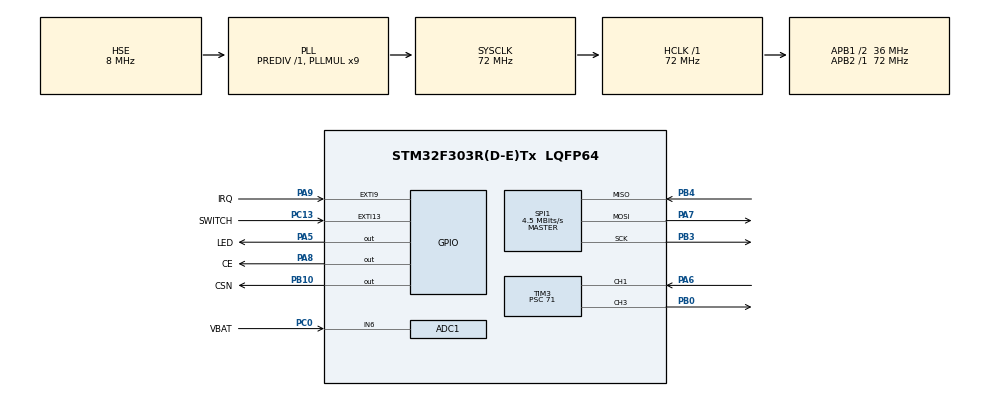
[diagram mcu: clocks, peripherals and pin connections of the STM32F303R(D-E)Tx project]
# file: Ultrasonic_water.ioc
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Mcu.Family=STM32F3
NVIC.ADC1_2_IRQn=true\:0\:0\:false\:false\:true\:true\:true
RCC.CortexFreq_Value=72000000
SPI1.VirtualType=VM_MASTER
VP_ADC1_TempSens_Input.Mode=IN-TempSens
ADC1.ContinuousConvMode=ENABLE
RCC.SYSCLKSourceVirtual=RCC_SYSCLKSOURCE_PLLCLK
PC0.GPIO_Label=VBAT
PC13.GPIO_Label=SWITCH
ProjectManager.StackSize=0x400
SPI1.Direction=SPI_DIRECTION_2LINES
RCC.HCLKFreq_Value=72000000
ADC1.Offset-1\#ChannelRegularConversion=0
RCC.APB2TimFreq_Value=72000000
Dma.ADC1.0.Direction=DMA_PERIPH_TO_MEMORY
ADC1.Channel-2\#ChannelRegularConversion=ADC_CHANNEL_TEMPSENSOR
SPI1.CalculateBaudRate=4.5 MBits/s
Dma.ADC1.0.MemDataAlignment=DMA_MDATAALIGN_HALFWORD
RCC.AHBFreq_Value=72000000
NVIC.EXTI15_10_IRQn=true\:0\:0\:false\:false\:true\:true\:true
TIM3.Pulse-PWM\ Generation3\ CH3=11
RCC.HSE_VALUE=8000000
TIM3.Channel-Input_Capture1_from_TI1=TIM_CHANNEL_1
PB3.Mode=Full_Duplex_Master
RCC.PLLMUL=RCC_PLL_MUL9
ADC1.Rank-2\#ChannelRegularConversion=2
PB4.Mode=Full_Duplex_Master
PA14.Mode=Serial_Wire
TIM3.Prescaler=71
Dma.ADC1.0.PeriphInc=DMA_PINC_DISABLE
SPI1.DataSize=SPI_DATASIZE_8BIT
PA8.Signal=GPIO_Output
SH.S_TIM3_CH1.0=TIM3_CH1,Input_Capture1_from_TI1
SH.S_TIM3_CH1.1=TIM3_CH1,Input_Capture2_from_TI1
Mcu.Package=LQFP64
PA6.Signal=S_TIM3_CH1
ADC1.OffsetNumber-1\#ChannelRegularConversion=ADC_OFFSET_NONE
RCC.APB1TimFreq_Value=72000000
PF1-OSC_OUT.Mode=HSE-External-Oscillator
Dma.Request0=ADC1
SPI1.BaudRatePrescaler=SPI_BAUDRATEPRESCALER_16
VP_TIM3_VS_ClockSourceINT.Mode=Internal
PF1-OSC_OUT.Signal=RCC_OSC_OUT
PB4.Signal=SPI1_MISO
RCC.PLLSourceVirtual=RCC_PLLSOURCE_HSE
Dma.ADC1.0.Instance=DMA1_Channel1
PA7.Mode=Full_Duplex_Master
TIM3.Channel-Input_Capture2_from_TI1=TIM_CHANNEL_2
SH.ADCx_IN6.0=ADC1_IN6,IN6-Single-Ended
PC13.Signal=GPXTI13
PA9.GPIO_Label=IRQ
PC0.Signal=ADCx_IN6
RCC.APB1CLKDivider=RCC_HCLK_DIV2
SH.S_TIM3_CH3.0=TIM3_CH3,PWM Generation3 CH3
ADC1.SamplingTime-2\#ChannelRegularConversion=ADC_SAMPLETIME_1CYCLE_5
PA13.Signal=SYS_JTMS-SWDIO
TIM3.Channel-PWM\ Generation3\ CH3=TIM_CHANNEL_3
Dma.ADC1.0.PeriphDataAlignment=DMA_PDATAALIGN_HALFWORD
PA8.GPIO_Label=CE
ProjectManager.TargetToolchain=STM32CubeIDE
PB10.GPIO_Label=CSN
Dma.ADC1.0.Mode=DMA_CIRCULAR
Dma.ADC1.0.Priority=DMA_PRIORITY_LOW
PA9.Signal=GPXTI9
ADC1.Channel-1\#ChannelRegularConversion=ADC_CHANNEL_6
ADC1.Offset-2\#ChannelRegularConversion=0
RCC.USBFreq_Value=72000000
RCC.LSE_VALUE=32768
PF0-OSC_IN.Mode=HSE-External-Oscillator
PB10.Signal=GPIO_Output
PA5.Signal=GPIO_Output
board=custom
NVIC.TIM3_IRQn=true\:0\:0\:false\:false\:true\:true\:true
RCC.APB2Freq_Value=72000000
SPI1.Mode=SPI_MODE_MASTER
TIM3.ICPolarity_CH2=TIM_INPUTCHANNELPOLARITY_FALLING
ADC1.DMAContinuousRequests=ENABLE
ADC1.NbrOfConversion=2
PA13.Mode=Serial_Wire
ADC1.OffsetNumber-2\#ChannelRegularConversion=ADC_OFFSET_NONE
ADC1.SamplingTimeOPAMP-2\#ChannelRegularConversion=ADC_SAMPLETIME_7CYCLES_5
Mcu.Name=STM32F303R(D-E)Tx
PB3.Signal=SPI1_SCK
ADC1.SamplingTime-1\#ChannelRegularConversion=ADC_SAMPLETIME_601CYCLES_5
RCC.SYSCLKFreq_VALUE=72000000
ADC1.master=1
PA5.GPIO_Label=LED
PC13.GPIO_ModeDefaultEXTI=GPIO_MODE_IT_FALLING
ADC1.Rank-1\#ChannelRegularConversion=1
PA14.Signal=SYS_JTCK-SWCLK
Dma.ADC1.0.MemInc=DMA_MINC_ENABLE
ProjectManager.HeapSize=0x200
RCC.HSI_VALUE=8000000
NVIC.PriorityGroup=NVIC_PRIORITYGROUP_4
ADC1.NbrOfConversionFlag=1
NVIC.DMA1_Channel1_IRQn=true\:0\:0\:false\:false\:true\:false\:true
PF0-OSC_IN.Signal=RCC_OSC_IN
RCC.APB1Freq_Value=36000000
PB0.Signal=S_TIM3_CH3
ADC1.ClockPrescaler=ADC_CLOCK_SYNC_PCLK_DIV4
PA7.Signal=SPI1_MOSI

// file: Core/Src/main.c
/* USER CODE BEGIN Header */
/**
 ******************************************************************************
 * @file           : main.c
 * @brief          : Main program body
 ******************************************************************************
 * @attention
 *
 * <h2><center>&copy; Copyright (c) 2021 STMicroelectronics.
 * All rights reserved.</center></h2>
 *
 * This software component is licensed by ST under BSD 3-Clause license,
 * the "License"; You may not use this file except in compliance with the
 * License. You may obtain a copy of the License at:
 *                        opensource.org/licenses/BSD-3-Clause
 *
 ******************************************************************************
 */
/* USER CODE END Header */
#include "main.h"
#include "adc.h"
#include "dma.h"
#include "spi.h"
#include "tim.h"
#include "gpio.h"

/* USER CODE BEGIN Includes */

#include "hcsr04.h"
#include "PowerMgr.h"
#include "nRF24_Defs.h"
#include "nRF24.h"

/* Standard library */
#include <stdio.h>
#include <string.h>

/* USER CODE END Includes */

/* USER CODE BEGIN PD */

/* Macro to activate test mode*/
//#define TESTING

/* USER CODE END PD */

/* USER CODE BEGIN PV */

static Prefault_distance_T Prefault_distance={
		.invalid_msg = false,
		.debounce_counter = 0,
		.distance = 0
};

static volatile PowerMode PowerMode_flag = OFF;
static volatile uint16_t adc_read[ADC_CHANNELS]; /* Channel 1 : Vbat measurement Channel 2: MCU temp */
static float Vbat;
static float Sound_speed;

static Message_T msg;

/* USER CODE END PV */

void SystemClock_Config(void);

int main(void)
{

  /* MCU Configuration--------------------------------------------------------*/

  /* Reset of all peripherals, Initializes the Flash interface and the Systick. */
   HAL_Init();

  /* Configure the system clock */
  SystemClock_Config();

  /* Initialize all configured peripherals */
  MX_GPIO_Init();
  MX_DMA_Init();
  MX_TIM3_Init();
  MX_ADC1_Init();
  MX_SPI1_Init();
  /* USER CODE BEGIN 2 */

  HAL_TIM_Base_Start(&htim3);
  HAL_TIM_PWM_Start(&htim3, HCSR04_PWM_CHANNEL);
  HAL_TIM_IC_Start(&htim3, HCSR04_START_CHANNEL);
  HAL_TIM_IC_Start_IT(&htim3, HCSR04_STOP_CHANNEL);

  HAL_ADC_Start_DMA(&hadc1, (uint32_t*)adc_read, ADC_CHANNELS);
  HAL_GPIO_WritePin(LED_GPIO_Port, LED_Pin, GPIO_PIN_RESET);

  nRF24_Init(&hspi1);
  nRF24_SetRXAddress(0, "RX");
  nRF24_SetTXAddress("TX");
  nRF24_TX_Mode();

  PowerMode_flag = FULL_OPERATIONAL;
  /* USER CODE END 2 */

  /* Infinite loop */
  /* USER CODE BEGIN WHILE */
  while (1)
  {
	  if((Prefault_distance.debounce_counter < DEBOUNCE_CYCLES)
		 && (false == Prefault_distance.invalid_msg))
	  {
		  Prefault_distance.debounce_counter++;
	  }
	  else
	  {
		  Prefault_distance.invalid_msg = true;
		  Prefault_distance.debounce_counter = 0;
	  }

	  msg.msg_dist = Prefault_distance.distance;
	  msg.msg_vbat = Vbat;

	  if(true != Prefault_distance.invalid_msg)
	  {
		  nRF24_send_data_by_radio(msg);
	  }

    /* USER CODE END WHILE */

  }
}

void SystemClock_Config(void)
{
  RCC_OscInitTypeDef RCC_OscInitStruct = {0};
  RCC_ClkInitTypeDef RCC_ClkInitStruct = {0};
  RCC_PeriphCLKInitTypeDef PeriphClkInit = {0};

  /** Initializes the RCC Oscillators according to the specified parameters
  * in the RCC_OscInitTypeDef structure.
  */
  RCC_OscInitStruct.OscillatorType = RCC_OSCILLATORTYPE_HSE;
  RCC_OscInitStruct.HSEState = RCC_HSE_ON;
  RCC_OscInitStruct.HSIState = RCC_HSI_ON;
  RCC_OscInitStruct.PLL.PLLState = RCC_PLL_ON;
  RCC_OscInitStruct.PLL.PLLSource = RCC_PLLSOURCE_HSE;
  RCC_OscInitStruct.PLL.PLLMUL = RCC_PLL_MUL9;
  RCC_OscInitStruct.PLL.PREDIV = RCC_PREDIV_DIV1;
  if (HAL_RCC_OscConfig(&RCC_OscInitStruct) != HAL_OK)
  {
    Error_Handler();
  }
  /** Initializes the CPU, AHB and APB buses clocks
  */
  RCC_ClkInitStruct.ClockType = RCC_CLOCKTYPE_HCLK|RCC_CLOCKTYPE_SYSCLK
                              |RCC_CLOCKTYPE_PCLK1|RCC_CLOCKTYPE_PCLK2;
  RCC_ClkInitStruct.SYSCLKSource = RCC_SYSCLKSOURCE_PLLCLK;
  RCC_ClkInitStruct.AHBCLKDivider = RCC_SYSCLK_DIV1;
  RCC_ClkInitStruct.APB1CLKDivider = RCC_HCLK_DIV2;
  RCC_ClkInitStruct.APB2CLKDivider = RCC_HCLK_DIV1;

  if (HAL_RCC_ClockConfig(&RCC_ClkInitStruct, FLASH_LATENCY_2) != HAL_OK)
  {
    Error_Handler();
  }
  PeriphClkInit.PeriphClockSelection = RCC_PERIPHCLK_TIM34;
  PeriphClkInit.Tim34ClockSelection = RCC_TIM34CLK_HCLK;
  if (HAL_RCCEx_PeriphCLKConfig(&PeriphClkInit) != HAL_OK)
  {
    Error_Handler();
  }
}

/* USER CODE BEGIN 4 */
void HAL_TIM_IC_CaptureCallback(TIM_HandleTypeDef *htim)
{
  if (htim->Instance == TIM3)
  {
    uint16_t time =
        (uint16_t)((uint16_t)__HAL_TIM_GetCompare(&htim3, HCSR04_STOP_CHANNEL) - (uint16_t)__HAL_TIM_GetCompare(&htim3, HCSR04_START_CHANNEL));
    Prefault_distance.distance = moving_average((dist)time /(2.0 * Sound_speed));
    reset_counter(&Prefault_distance);
    HAL_TIM_IC_Start_IT(&htim3, HCSR04_STOP_CHANNEL);
  }
}

void HAL_GPIO_EXTI_Callback(uint16_t GPIO_Pin)
{
  if (GPIO_Pin == SWITCH_Pin)
  {
	  Switch_PowerMode(&PowerMode_flag);
  }
}

void HAL_ADC_ConvCpltCallback(ADC_HandleTypeDef* hadc)
{
  if(hadc->Instance == ADC1)
  {
     Vbat = Calculate_BatteryVoltage(adc_read[ADC_VBAT]);
     Sound_speed = Calculate_SoundSpeed(adc_read[ADC_TEMP]);
     BatteryVoltageMonitor(Vbat, &PowerMode_flag);
  }
}

/* USER CODE END 4 */

void Error_Handler(void)
{
  /* USER CODE BEGIN Error_Handler_Debug */
  /* User can add his own implementation to report the HAL error return state */
  PowerMode_flag = ERROR_MODE;
  __disable_irq();
  while (1)
  {
  }
  /* USER CODE END Error_Handler_Debug */
}

/************************ (C) COPYRIGHT STMicroelectronics *****END OF FILE****/
